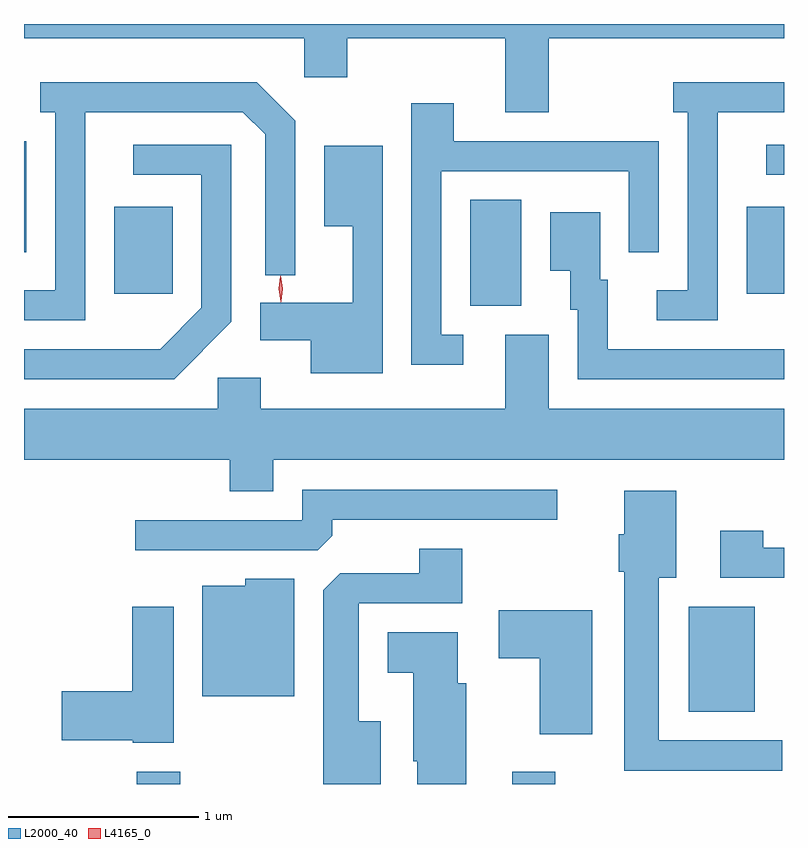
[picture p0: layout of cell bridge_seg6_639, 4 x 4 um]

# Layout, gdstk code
import gdstk
lib = gdstk.Library(unit=1e-6, precision=1e-09)
def R(c, l, rs):  # rectangles x0, y0, x1, y1
    for r in rs: c.add(gdstk.rectangle(r[:2], r[2:], *l))
def P(c, l, *ps):  # polygons
    for p in ps: c.add(gdstk.Polygon(p, *l))
L2000_40 = (2000, 40)
L4165_0 = (4165, 0)

bridge_seg6_639 = lib.new_cell('bridge_seg6_639')
R(bridge_seg6_639, L2000_40, [(202.741,1626.03,202.969,1626.094), (204.716,1626.03,204.944,1626.094), (205.646,1626.411,205.994,1626.964), (204.496,1628.546,204.764,1629.104), (202.621,1628.611,202.929,1629.069), (205.951,1628.611,206.147,1629.069), (202.147,1628.828,202.159,1629.414), (206.053,1629.236,206.147,1629.394)])
P(bridge_seg6_639, L2000_40, [(204.909,1629.956),(206.147,1629.956),(206.147,1630.03),(202.147,1630.03),(202.147,1629.956),(203.621,1629.956),(203.621,1629.751),(203.849,1629.751),(203.849,1629.956),(204.681,1629.956),(204.681,1629.566),(204.909,1629.566)],
  [(202.469,1629.566),(203.299,1629.566),(203.416,1629.449),(203.416,1628.708),(203.574,1628.708),(203.574,1629.522),(203.372,1629.724),(202.233,1629.724),(202.233,1629.566),(202.311,1629.566),(202.311,1628.629),(202.148,1628.629),(202.148,1628.471),(202.469,1628.471)],
  [(205.799,1629.566),(206.147,1629.566),(206.147,1629.724),(205.563,1629.724),(205.563,1629.566),(205.641,1629.566),(205.641,1628.629),(205.478,1628.629),(205.478,1628.471),(205.799,1628.471)],
  [(204.458,1628.394),(204.344,1628.394),(204.344,1629.256),(205.331,1629.256),(205.331,1628.828),(205.489,1628.828),(205.489,1629.414),(204.409,1629.414),(204.409,1629.614),(204.186,1629.614),(204.186,1628.236),(204.458,1628.236)],
  [(203.239,1628.464),(203.239,1629.394),(202.723,1629.394),(202.723,1629.236),(203.081,1629.236),(203.081,1628.537),(202.864,1628.319),(202.147,1628.319),(202.147,1628.161),(202.937,1628.161)],
  [(204.034,1629.389),(203.726,1629.389),(203.726,1628.966),(203.876,1628.966),(203.876,1628.564),(203.391,1628.564),(203.391,1628.366),(203.656,1628.366),(203.656,1628.191),(204.034,1628.191)],
  [(206.147,1628.319),(205.219,1628.319),(205.219,1628.684),(205.179,1628.684),(205.179,1629.039),(204.916,1629.039),(204.916,1628.731),(205.021,1628.731),(205.021,1628.526),(205.061,1628.526),(205.061,1628.161),(206.147,1628.161)],
  [(203.459,1627.736),(206.147,1627.736),(206.147,1628.004),(204.909,1628.004),(204.909,1628.394),(204.681,1628.394),(204.681,1628.004),(203.394,1628.004),(203.394,1628.169),(203.166,1628.169),(203.166,1628.004),(202.147,1628.004),(202.147,1627.736),(203.231,1627.736),(203.231,1627.571),(203.459,1627.571)],
  [(203.769,1627.337),(203.769,1627.421),(204.953,1627.421),(204.953,1627.579),(203.611,1627.579),(203.611,1627.419),(202.733,1627.419),(202.733,1627.261),(203.694,1627.261)],
  [(206.138,1626.259),(205.489,1626.259),(205.489,1627.116),(205.579,1627.116),(205.579,1627.574),(205.306,1627.574),(205.306,1627.344),(205.276,1627.344),(205.276,1627.146),(205.306,1627.146),(205.306,1626.101),(206.138,1626.101)],
  [(206.147,1627.274),(206.039,1627.274),(206.039,1627.364),(205.811,1627.364),(205.811,1627.116),(206.147,1627.116)],
  [(204.024,1626.359),(203.909,1626.359),(203.909,1626.981),(204.454,1626.981),(204.454,1627.269),(204.226,1627.269),(204.226,1627.139),(203.812,1627.139),(203.721,1627.049),(203.721,1626.03),(204.024,1626.03)],
  [(203.569,1627.109),(203.311,1627.109),(203.311,1627.074),(203.086,1627.074),(203.086,1626.491),(203.569,1626.491)],
  [(202.934,1626.964),(202.716,1626.964),(202.716,1626.519),(202.346,1626.519),(202.346,1626.261),(202.72,1626.261),(202.72,1626.246),(202.934,1626.246)],
  [(205.139,1626.944),(204.646,1626.944),(204.646,1626.691),(204.861,1626.691),(204.861,1626.291),(205.139,1626.291)],
  [(204.474,1626.559),(204.429,1626.559),(204.429,1626.829),(204.061,1626.829),(204.061,1626.616),(204.196,1626.616),(204.196,1626.151),(204.216,1626.151),(204.216,1626.03),(204.474,1626.03)])
P(bridge_seg6_639, L4165_0, [(203.5,1628.569),(203.499,1628.57),(203.488,1628.636),(203.496,1628.702),(203.497,1628.702),(203.497,1628.702),(203.508,1628.636),(203.5,1628.57)],
  [(203.498,1628.566),(203.498,1628.567),(203.488,1628.636),(203.498,1628.705),(203.498,1628.705),(203.499,1628.705),(203.508,1628.636),(203.499,1628.567)])

lib.write_gds('bridge_seg6_639.gds')
